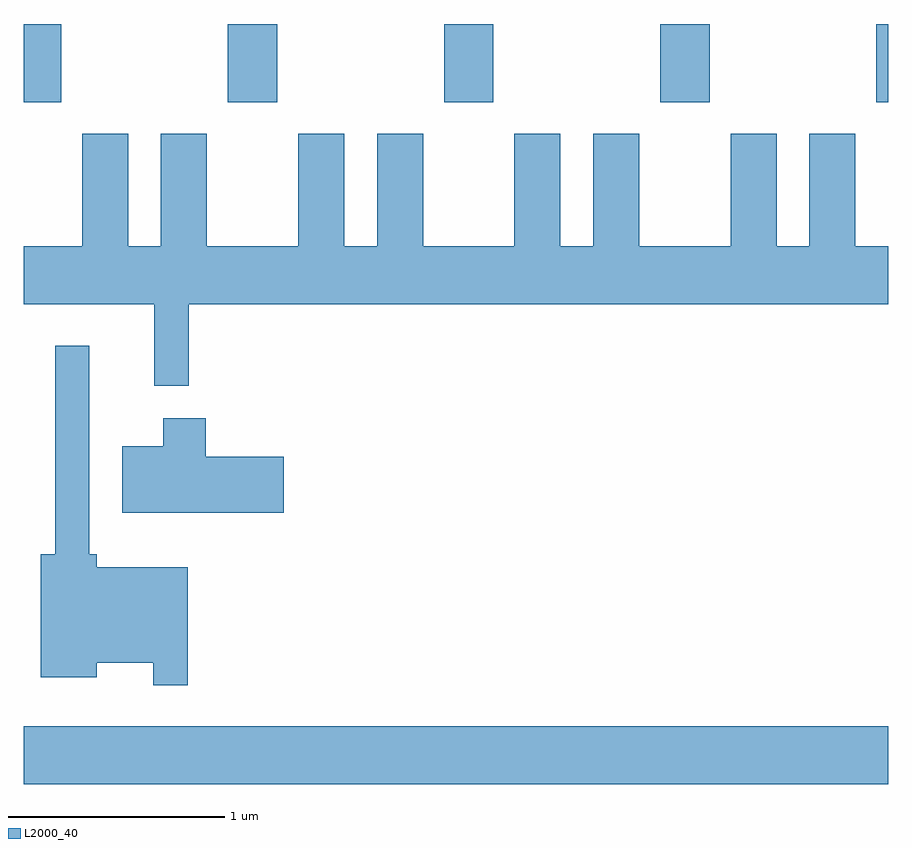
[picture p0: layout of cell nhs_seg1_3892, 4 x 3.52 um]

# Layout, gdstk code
import gdstk
lib = gdstk.Library(unit=1e-6, precision=1e-09)
def R(c, l, rs):  # rectangles x0, y0, x1, y1
    for r in rs: c.add(gdstk.rectangle(r[:2], r[2:], *l))
def A(c, l, x, y, w, h, nx, ny, dx, dy):  # array of equal rectangles
    R(c, l, [(x+i*dx, y+j*dy, x+i*dx+w, y+j*dy+h) for i in range(nx) for j in range(ny)])
def P(c, l, *ps):  # polygons
    for p in ps: c.add(gdstk.Polygon(p, *l))
L2000_40 = (2000, 40)

nhs_seg1_3892 = lib.new_cell('nhs_seg1_3892')
A(nhs_seg1_3892, L2000_40, 302.556, 949.351, 0.228, 0.361, 3, 1, 1, 0)
R(nhs_seg1_3892, L2000_40, [(301.611,946.196,305.611,946.464), (301.611,949.351,301.784,949.712), (305.556,949.351,305.611,949.712)])
P(nhs_seg1_3892, L2000_40, [(302.374,948.416),(305.611,948.416),(305.611,948.684),(305.459,948.684),(305.459,949.204),(305.246,949.204),(305.246,948.684),(305.094,948.684),(305.094,949.204),(304.881,949.204),(304.881,948.684),(304.459,948.684),(304.459,949.204),(304.246,949.204),(304.246,948.684),(304.094,948.684),(304.094,949.204),(303.881,949.204),(303.881,948.684),(303.459,948.684),(303.459,949.204),(303.246,949.204),(303.246,948.684),(303.094,948.684),(303.094,949.204),(302.881,949.204),(302.881,948.684),(302.459,948.684),(302.459,949.204),(302.246,949.204),(302.246,948.684),(302.094,948.684),(302.094,949.204),(301.881,949.204),(301.881,948.684),(301.611,948.684),(301.611,948.416),(302.216,948.416),(302.216,948.038),(302.374,948.038)],
  [(302.369,947.199),(301.949,947.199),(301.949,947.259),(301.914,947.259),(301.914,948.223),(301.756,948.223),(301.756,947.259),(301.691,947.259),(301.691,946.691),(301.949,946.691),(301.949,946.756),(302.211,946.756),(302.211,946.653),(302.369,946.653)],
  [(302.814,947.709),(302.454,947.709),(302.454,947.889),(302.256,947.889),(302.256,947.759),(302.066,947.759),(302.066,947.451),(302.814,947.451)])

lib.write_gds('nhs_seg1_3892.gds')
